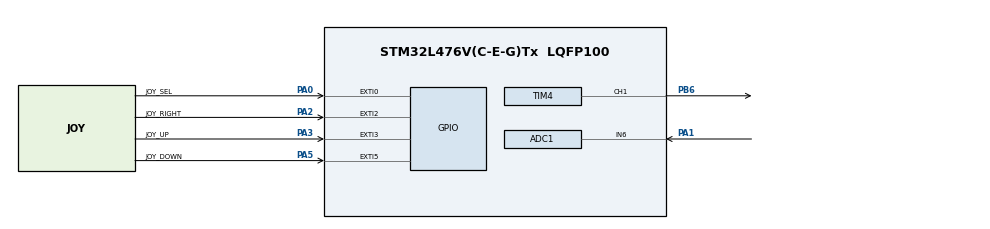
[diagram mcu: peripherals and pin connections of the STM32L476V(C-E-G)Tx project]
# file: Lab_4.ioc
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Mcu.Family=STM32L4
RCC.MSI_VALUE=4000000
TIM4.Channel-PWM\ Generation1\ CH1=TIM_CHANNEL_1
PA2.GPIO_PuPd=GPIO_PULLDOWN
RCC.CortexFreq_Value=4000000
SH.ADCx_IN6.0=ADC1_IN6,IN6-Single-Ended
PA3.GPIO_PuPd=GPIO_PULLDOWN
PA0.GPIO_Label=JOY_SEL
NVIC.EXTI3_IRQn=true\:0\:0\:false\:false\:true\:true\:true
ADC1.SamplingTime-2\#ChannelRegularConversion=ADC_SAMPLETIME_2CYCLES_5
ProjectManager.StackSize=0x400
ProjectManager.TargetToolchain=MDK-ARM V5.27
TIM4.Pulse-PWM\ Generation1\ CH1=100
PB6.Signal=S_TIM4_CH1
ADC1.Channel-2\#ChannelRegularConversion=ADC_CHANNEL_6
RCC.USBFreq_Value=32000000
TIM4.Prescaler=4
RCC.LSE_VALUE=32768
PA1.Signal=ADCx_IN6
RCC.PREFETCH_ENABLE=1
PA5.Signal=GPXTI5
RCC.HSE_VALUE=8000000
board=STM32L476G-DISCO
RCC.VCOOutputFreq_Value=32000000
ADC1.Rank-2\#ChannelRegularConversion=1
PA5.GPIO_PuPd=GPIO_PULLDOWN
RCC.ADCFreq_Value=32000000
TIM4.Period=100
ADC1.OffsetNumber-2\#ChannelRegularConversion=ADC_OFFSET_NONE
Mcu.Name=STM32L476V(C-E-G)Tx
PA2.Signal=GPXTI2
PA0.Signal=GPXTI0
NVIC.EXTI0_IRQn=true\:0\:0\:false\:false\:true\:true\:true
Mcu.Package=LQFP100
ADC1.master=1
PA5.GPIO_Label=JOY_DOWN
PA0.GPIO_PuPd=GPIO_PULLDOWN
PA2.GPIO_Label=JOY_RIGHT
NVIC.EXTI9_5_IRQn=true\:0\:0\:false\:false\:true\:true\:true
ProjectManager.HeapSize=0x200
RCC.HSI_VALUE=16000000
VP_TIM4_VS_ClockSourceINT.Mode=Internal
NVIC.PriorityGroup=NVIC_PRIORITYGROUP_4
ADC1.NbrOfConversionFlag=1
NVIC.EXTI2_IRQn=true\:0\:0\:false\:false\:true\:true\:true
SH.S_TIM4_CH1.0=TIM4_CH1,PWM Generation1 CH1
RCC.PLLSAI1N=16
PA3.GPIO_Label=JOY_UP
PA3.Signal=GPXTI3

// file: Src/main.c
/* USER CODE BEGIN Header */
/**
  ******************************************************************************
  * @file           : main.c
  * @brief          : Main program body
  ******************************************************************************
  * @attention
  *
  * <h2><center>&copy; Copyright (c) 2020 STMicroelectronics.
  * All rights reserved.</center></h2>
  *
  * This software component is licensed by ST under BSD 3-Clause license,
  * the "License"; You may not use this file except in compliance with the
  * License. You may obtain a copy of the License at:
  *                        opensource.org/licenses/BSD-3-Clause
  *
  ******************************************************************************
  */
/* USER CODE END Header */
#include "main.h"

/* USER CODE BEGIN Includes */
#include <stdio.h>

/* USER CODE END Includes */

/* USER CODE BEGIN PTD */
typedef enum state{
	SHOW_TEMP,
	SET_TEMP
}state;

typedef enum button_state{
	UP,
	DOWN,
	SEL,
	NONE
}button_state;

/* USER CODE END PTD */

ADC_HandleTypeDef hadc1;

TIM_HandleTypeDef htim4;

/* USER CODE BEGIN PV */

uint32_t raw_temp;					//reading from ADC
float set_temp;						// set temp

state STATE;
button_state BUTTON;

char lcd_buffer[6];
/* USER CODE END PV */

void SystemClock_Config(void);
static void MX_GPIO_Init(void);
static void MX_ADC1_Init(void);
static void MX_TIM4_Init(void);
/* USER CODE BEGIN PFP */

void set_temp_state(void);
void show_temp_state(void);

float temp_convert(uint32_t raw_temp);

/* USER CODE END PFP */

int main(void)
{

  /* MCU Configuration--------------------------------------------------------*/

  /* Reset of all peripherals, Initializes the Flash interface and the Systick. */
  HAL_Init();

  /* Configure the system clock */
  SystemClock_Config();

  /* Initialize all configured peripherals */
  MX_GPIO_Init();
  MX_ADC1_Init();
  MX_TIM4_Init();
  /* USER CODE BEGIN 2 */
	HAL_TIM_PWM_Start(&htim4, TIM_CHANNEL_1);
	BSP_LCD_GLASS_Init();

	raw_temp = 860;							//initial simulated temp from ADC around 21 degrees c
	set_temp = 21.5;

	STATE = SHOW_TEMP;
	BUTTON = NONE;

	htim4.Instance->CCR1 = 0;				//fan off initially

  /* USER CODE END 2 */

  /* Infinite loop */
  /* USER CODE BEGIN WHILE */
  while (1)
  {
		/*retrieve HAL ADC value and write to LCD*/
		/*HAL_ADC_Start(&hadc1);
		HAL_ADC_PollForConversion(&hadc1, HAL_MAX_DELAY);
		raw_temp = HAL_ADC_GetValue(&hadc1);

		sprintf(lcd_buffer,"%u",raw_temp);

		BSP_LCD_GLASS_Clear();
		BSP_LCD_GLASS_DisplayString((uint8_t*)lcd_buffer);*/

		switch(STATE){
			case SHOW_TEMP:
				show_temp_state();
				break;

			case SET_TEMP:
				set_temp_state();
				break;
		}

    /* USER CODE END WHILE */

  }
}

void SystemClock_Config(void)
{
  RCC_OscInitTypeDef RCC_OscInitStruct = {0};
  RCC_ClkInitTypeDef RCC_ClkInitStruct = {0};
  RCC_PeriphCLKInitTypeDef PeriphClkInit = {0};

  /** Initializes the RCC Oscillators according to the specified parameters
  * in the RCC_OscInitTypeDef structure.
  */
  RCC_OscInitStruct.OscillatorType = RCC_OSCILLATORTYPE_MSI;
  RCC_OscInitStruct.MSIState = RCC_MSI_ON;
  RCC_OscInitStruct.MSICalibrationValue = 0;
  RCC_OscInitStruct.MSIClockRange = RCC_MSIRANGE_6;
  RCC_OscInitStruct.PLL.PLLState = RCC_PLL_NONE;
  if (HAL_RCC_OscConfig(&RCC_OscInitStruct) != HAL_OK)
  {
    Error_Handler();
  }
  /** Initializes the CPU, AHB and APB buses clocks
  */
  RCC_ClkInitStruct.ClockType = RCC_CLOCKTYPE_HCLK|RCC_CLOCKTYPE_SYSCLK
                              |RCC_CLOCKTYPE_PCLK1|RCC_CLOCKTYPE_PCLK2;
  RCC_ClkInitStruct.SYSCLKSource = RCC_SYSCLKSOURCE_MSI;
  RCC_ClkInitStruct.AHBCLKDivider = RCC_SYSCLK_DIV1;
  RCC_ClkInitStruct.APB1CLKDivider = RCC_HCLK_DIV1;
  RCC_ClkInitStruct.APB2CLKDivider = RCC_HCLK_DIV1;

  if (HAL_RCC_ClockConfig(&RCC_ClkInitStruct, FLASH_LATENCY_0) != HAL_OK)
  {
    Error_Handler();
  }
  PeriphClkInit.PeriphClockSelection = RCC_PERIPHCLK_ADC;
  PeriphClkInit.AdcClockSelection = RCC_ADCCLKSOURCE_PLLSAI1;
  PeriphClkInit.PLLSAI1.PLLSAI1Source = RCC_PLLSOURCE_MSI;
  PeriphClkInit.PLLSAI1.PLLSAI1M = 1;
  PeriphClkInit.PLLSAI1.PLLSAI1N = 16;
  PeriphClkInit.PLLSAI1.PLLSAI1P = RCC_PLLP_DIV7;
  PeriphClkInit.PLLSAI1.PLLSAI1Q = RCC_PLLQ_DIV2;
  PeriphClkInit.PLLSAI1.PLLSAI1R = RCC_PLLR_DIV2;
  PeriphClkInit.PLLSAI1.PLLSAI1ClockOut = RCC_PLLSAI1_ADC1CLK;
  if (HAL_RCCEx_PeriphCLKConfig(&PeriphClkInit) != HAL_OK)
  {
    Error_Handler();
  }
  /** Configure the main internal regulator output voltage
  */
  if (HAL_PWREx_ControlVoltageScaling(PWR_REGULATOR_VOLTAGE_SCALE1) != HAL_OK)
  {
    Error_Handler();
  }
}

static void MX_ADC1_Init(void)
{

  ADC_MultiModeTypeDef multimode = {0};
  ADC_ChannelConfTypeDef sConfig = {0};

  /** Common config
  */
  hadc1.Instance = ADC1;
  hadc1.Init.ClockPrescaler = ADC_CLOCK_ASYNC_DIV1;
  hadc1.Init.Resolution = ADC_RESOLUTION_12B;
  hadc1.Init.DataAlign = ADC_DATAALIGN_RIGHT;
  hadc1.Init.ScanConvMode = ADC_SCAN_DISABLE;
  hadc1.Init.EOCSelection = ADC_EOC_SINGLE_CONV;
  hadc1.Init.LowPowerAutoWait = DISABLE;
  hadc1.Init.ContinuousConvMode = DISABLE;
  hadc1.Init.NbrOfConversion = 1;
  hadc1.Init.DiscontinuousConvMode = DISABLE;
  hadc1.Init.ExternalTrigConv = ADC_SOFTWARE_START;
  hadc1.Init.ExternalTrigConvEdge = ADC_EXTERNALTRIGCONVEDGE_NONE;
  hadc1.Init.DMAContinuousRequests = DISABLE;
  hadc1.Init.Overrun = ADC_OVR_DATA_PRESERVED;
  hadc1.Init.OversamplingMode = DISABLE;
  if (HAL_ADC_Init(&hadc1) != HAL_OK)
  {
    Error_Handler();
  }
  /** Configure the ADC multi-mode
  */
  multimode.Mode = ADC_MODE_INDEPENDENT;
  if (HAL_ADCEx_MultiModeConfigChannel(&hadc1, &multimode) != HAL_OK)
  {
    Error_Handler();
  }
  /** Configure Regular Channel
  */
  sConfig.Channel = ADC_CHANNEL_6;
  sConfig.Rank = ADC_REGULAR_RANK_1;
  sConfig.SamplingTime = ADC_SAMPLETIME_2CYCLES_5;
  sConfig.SingleDiff = ADC_SINGLE_ENDED;
  sConfig.OffsetNumber = ADC_OFFSET_NONE;
  sConfig.Offset = 0;
  if (HAL_ADC_ConfigChannel(&hadc1, &sConfig) != HAL_OK)
  {
    Error_Handler();
  }

}

static void MX_TIM4_Init(void)
{

  TIM_ClockConfigTypeDef sClockSourceConfig = {0};
  TIM_MasterConfigTypeDef sMasterConfig = {0};
  TIM_OC_InitTypeDef sConfigOC = {0};

  htim4.Instance = TIM4;
  htim4.Init.Prescaler = 4;
  htim4.Init.CounterMode = TIM_COUNTERMODE_UP;
  htim4.Init.Period = 100;
  htim4.Init.ClockDivision = TIM_CLOCKDIVISION_DIV1;
  htim4.Init.AutoReloadPreload = TIM_AUTORELOAD_PRELOAD_DISABLE;
  if (HAL_TIM_Base_Init(&htim4) != HAL_OK)
  {
    Error_Handler();
  }
  sClockSourceConfig.ClockSource = TIM_CLOCKSOURCE_INTERNAL;
  if (HAL_TIM_ConfigClockSource(&htim4, &sClockSourceConfig) != HAL_OK)
  {
    Error_Handler();
  }
  if (HAL_TIM_PWM_Init(&htim4) != HAL_OK)
  {
    Error_Handler();
  }
  sMasterConfig.MasterOutputTrigger = TIM_TRGO_RESET;
  sMasterConfig.MasterSlaveMode = TIM_MASTERSLAVEMODE_DISABLE;
  if (HAL_TIMEx_MasterConfigSynchronization(&htim4, &sMasterConfig) != HAL_OK)
  {
    Error_Handler();
  }
  sConfigOC.OCMode = TIM_OCMODE_PWM1;
  sConfigOC.Pulse = 100;
  sConfigOC.OCPolarity = TIM_OCPOLARITY_HIGH;
  sConfigOC.OCFastMode = TIM_OCFAST_DISABLE;
  if (HAL_TIM_PWM_ConfigChannel(&htim4, &sConfigOC, TIM_CHANNEL_1) != HAL_OK)
  {
    Error_Handler();
  }
  HAL_TIM_MspPostInit(&htim4);

}

static void MX_GPIO_Init(void)
{
  GPIO_InitTypeDef GPIO_InitStruct = {0};

  /* GPIO Ports Clock Enable */
  __HAL_RCC_GPIOA_CLK_ENABLE();
  __HAL_RCC_GPIOB_CLK_ENABLE();

  /*Configure GPIO pins : JOY_SEL_Pin JOY_RIGHT_Pin JOY_UP_Pin JOY_DOWN_Pin */
  GPIO_InitStruct.Pin = JOY_SEL_Pin|JOY_RIGHT_Pin|JOY_UP_Pin|JOY_DOWN_Pin;
  GPIO_InitStruct.Mode = GPIO_MODE_IT_RISING;
  GPIO_InitStruct.Pull = GPIO_PULLDOWN;
  HAL_GPIO_Init(GPIOA, &GPIO_InitStruct);

  /* EXTI interrupt init*/
  HAL_NVIC_SetPriority(EXTI0_IRQn, 0, 0);
  HAL_NVIC_EnableIRQ(EXTI0_IRQn);

  HAL_NVIC_SetPriority(EXTI2_IRQn, 0, 0);
  HAL_NVIC_EnableIRQ(EXTI2_IRQn);

  HAL_NVIC_SetPriority(EXTI3_IRQn, 0, 0);
  HAL_NVIC_EnableIRQ(EXTI3_IRQn);

  HAL_NVIC_SetPriority(EXTI9_5_IRQn, 0, 0);
  HAL_NVIC_EnableIRQ(EXTI9_5_IRQn);

}

/* USER CODE BEGIN 4 */

void HAL_GPIO_EXTI_Callback(uint16_t GPIO_Pin) {							//buffer button pressed
	switch(GPIO_Pin) {

		case GPIO_PIN_0:			             //sel button
			BUTTON = SEL;
			break;

		/*case GPIO_PIN_1:									//left button NOT IN USE BC ADC USES PA1
			break; */

		case GPIO_PIN_2:									//right button
			break;

		case GPIO_PIN_3:									//up button
			BUTTON = UP;
			break;

		case GPIO_PIN_5:									//DOWN button
			BUTTON = DOWN;
			break;

	}
}

void show_temp_state(void){

	uint32_t diff;												//diff between temp

	sprintf(lcd_buffer," %.1f ",temp_convert(raw_temp));								//convert to degree C reading
	BSP_LCD_GLASS_Clear();
	BSP_LCD_GLASS_DisplayString((uint8_t*)lcd_buffer);

	if(temp_convert(raw_temp) > set_temp){				//fan on
		diff = (temp_convert(raw_temp)-set_temp)*40;
		if(diff > 100) diff = 100;
		htim4.Instance->CCR1 = diff;												//scale with temp difference
	}

	else htim4.Instance->CCR1 = 0; //fan off

	switch(BUTTON){																	//simulate degree change in ADC reading
		case UP:
			if(raw_temp < 4000) raw_temp += 20;					// around 0.5 degree increase
			break;
		case DOWN:
			if(raw_temp > 0)raw_temp -= 20;
			break;

		case SEL:
			htim4.Instance->CCR1 = 0;							//turn off fan
			STATE = SET_TEMP;											//switch state
			break;

		default:
			break;
	}

	BUTTON = NONE;

}

void set_temp_state(void){

	sprintf(lcd_buffer,"*%.1f*",set_temp);								//already a float
	BSP_LCD_GLASS_Clear();
	BSP_LCD_GLASS_DisplayString((uint8_t*)lcd_buffer);

	switch(BUTTON){
		case UP:
			if(set_temp < 40) set_temp += 0.5;
			break;
		case DOWN:
			if(set_temp > 0) set_temp -= 0.5;
			break;

		case SEL:
			STATE = SHOW_TEMP;
			break;

		default:
			break;
	}

	BUTTON = NONE;
}

float temp_convert(uint32_t raw_temp){
	return (((float) raw_temp)/4095)*100;
}

/* USER CODE END 4 */

void Error_Handler(void)
{
}

/************************ (C) COPYRIGHT STMicroelectronics *****END OF FILE****/
